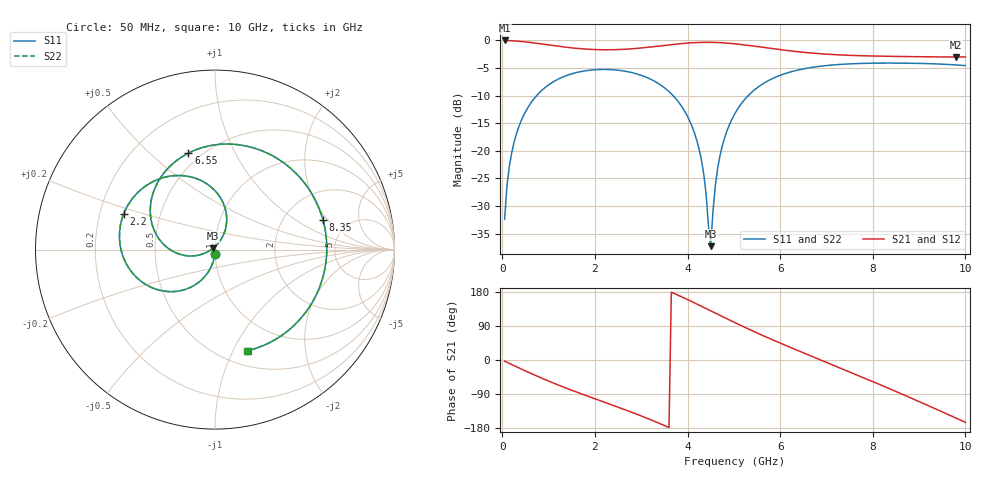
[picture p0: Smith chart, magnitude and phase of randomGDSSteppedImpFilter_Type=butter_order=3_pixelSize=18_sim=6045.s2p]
! freq	dB(S11)	phase(S11)	dB(S12)	phase(S12)
!  dB(S21)	phase(S21)	dB(S22)	phase(S22)
!S-par simulation data
#  GHz  S  DB  R 50
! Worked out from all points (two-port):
!   200 points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, 50 MHz to 10 GHz, reference 50 ohm
!   highest |S21| = -0.01 dB at 50 MHz (marker M1); lowest = -3.0 dB at 9.8 GHz (marker M2)
!   |S21| within 3 dB of the highest: start of sweep to end of sweep
!   lowest |S11| = -37.3 dB at 4.5 GHz (marker M3), VSWR 1.03, Z = 48.9 + j0.742 ohm
!   |S11| at or under -10 dB: start of sweep to 741.6 MHz; 3.688 GHz to 5.31 GHz (1.622 GHz wide, 36 % of centre)
!   |S22| runs from -36.9 to -4.1 dB; largest |S21 - S12| = 0
!   S11 on the Smith chart (normalised r, x): 50 MHz: 1.00, -0.05; 2.2 GHz: 0.30, +0.17; 6.55 GHz: 0.43, +0.67; 8.35 GHz: 3.30, +1.77; 10 GHz: 0.66, -1.14
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0.05  -32.42 -93.0  -0.01 -3.0  -0.01 -3.0  -32.41 -93.0
0.1  -26.42 -96.1  -0.02 -5.9  -0.02 -5.9  -26.42 -96.1
0.2  -20.48 -102.2  -0.06 -11.8  -0.06 -11.8  -20.48 -102.2
0.5  -12.94 -119.5  -0.27 -28.9  -0.27 -28.9  -12.94 -119.4
1.1  -7.50 -151.1  -0.93 -60.6  -0.93 -60.6  -7.50 -151.1
1.75  -5.56 178.3  -1.54 -91.2  -1.54 -91.2  -5.56 178.4
2.2  -5.25 158.4  -1.69 -111.2  -1.69 -111.2  -5.25 158.5
3.4  -7.96 102.8  -1.00 -167.6  -1.00 -167.6  -7.96 102.9
4.2  -18.10 62.4  -0.38 147.8  -0.38 147.8  -18.10 62.7
4.35  -24.20 59.4  -0.34 138.8  -0.34 138.8  -24.19 60.0
4.5  -37.26 146.4  -0.34 129.8  -0.34 129.8  -36.92 145.7
4.6  -26.28 -161.9  -0.36 123.8  -0.36 123.8  -26.25 -162.5
4.7  -20.91 -160.8  -0.40 117.8  -0.40 117.8  -20.91 -161.2
5.05  -12.85 -176.6  -0.63 97.1  -0.63 97.1  -12.85 -176.7
5.75  -7.26 146.1  -1.39 57.9  -1.39 57.9  -7.26 146.0
6.55  -5.07 105.4  -2.19 16.5  -2.19 16.5  -5.07 105.4
6.7  -4.86 97.9  -2.30 8.9  -2.30 8.9  -4.86 98.0
7.45  -4.27 60.7  -2.68 -28.8  -2.68 -28.8  -4.27 60.7
8.35  -4.10 15.2  -2.88 -75.1  -2.88 -75.1  -4.10 15.2
9.05  -4.17 -21.1  -2.96 -112.4  -2.96 -112.4  -4.17 -21.1
9.8  -4.44 -61.2  -3.00 -153.4  -3.00 -153.4  -4.44 -61.2
10  -4.56 -72.2  -2.99 -164.6  -2.99 -164.6  -4.56 -72.2
